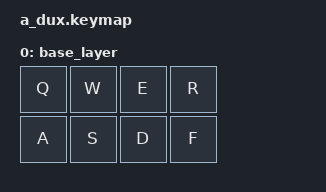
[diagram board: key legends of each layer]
/*
 * Copyright (c) 2021 The ZMK Contributors
 *
 * SPDX-License-Identifier: MIT
 */

#include <behaviors.dtsi>
#include <dt-bindings/zmk/keys.h>

/ {

    keymap {
        compatible = "zmk,keymap";

        // This is a sample keymap intended to be replaced with your own
        base_layer {
            bindings = <
                &kp Q     &kp W     &kp E     &kp R
                &kp A     &kp S     &kp D     &kp F

            >;
        };

    };
};
